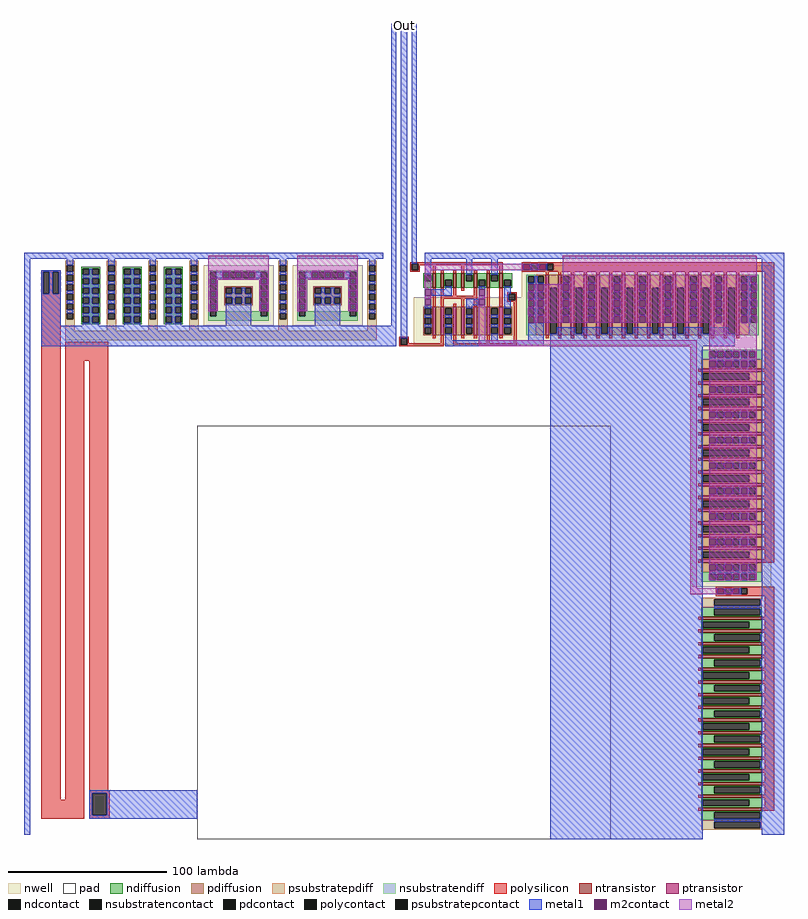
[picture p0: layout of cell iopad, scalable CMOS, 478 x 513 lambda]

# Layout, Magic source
magic
tech scmos
<< nwell >>
rect 111 323 155 361
rect 167 323 211 361
rect 311 341 468 361
rect 243 311 468 341
rect 418 159 468 311
<< ntransistor >>
rect 255 347 257 356
rect 260 347 262 356
rect 268 347 270 356
rect 273 347 275 356
rect 281 347 283 356
rect 289 347 291 356
rect 297 347 299 356
rect 424 138 462 140
rect 424 130 462 132
rect 424 122 462 124
rect 424 114 462 116
rect 424 106 462 108
rect 424 98 462 100
rect 424 90 462 92
rect 424 82 462 84
rect 424 74 462 76
rect 424 66 462 68
rect 424 58 462 60
rect 424 50 462 52
rect 424 42 462 44
rect 424 34 462 36
rect 424 26 462 28
rect 424 18 462 20
<< ptransistor >>
rect 255 317 257 335
rect 260 317 262 335
rect 268 317 270 335
rect 273 317 275 335
rect 281 317 283 335
rect 289 317 291 335
rect 297 317 299 335
rect 326 317 328 355
rect 334 317 336 355
rect 342 317 344 355
rect 350 317 352 355
rect 358 317 360 355
rect 366 317 368 355
rect 374 317 376 355
rect 382 317 384 355
rect 390 317 392 355
rect 398 317 400 355
rect 406 317 408 355
rect 414 317 416 355
rect 422 317 424 355
rect 430 317 432 355
rect 438 317 440 355
rect 446 317 448 355
rect 424 294 462 296
rect 424 286 462 288
rect 424 278 462 280
rect 424 270 462 272
rect 424 262 462 264
rect 424 254 462 256
rect 424 246 462 248
rect 424 238 462 240
rect 424 230 462 232
rect 424 222 462 224
rect 424 214 462 216
rect 424 206 462 208
rect 424 198 462 200
rect 424 190 462 192
rect 424 182 462 184
rect 424 174 462 176
<< ndiffusion >>
rect 34 359 46 360
rect 34 355 35 359
rect 39 355 41 359
rect 45 355 46 359
rect 34 353 46 355
rect 34 349 35 353
rect 39 349 41 353
rect 45 349 46 353
rect 34 347 46 349
rect 34 343 35 347
rect 39 343 41 347
rect 45 343 46 347
rect 34 341 46 343
rect 34 337 35 341
rect 39 337 41 341
rect 45 337 46 341
rect 34 335 46 337
rect 34 331 35 335
rect 39 331 41 335
rect 45 331 46 335
rect 34 329 46 331
rect 34 325 35 329
rect 39 325 41 329
rect 45 325 46 329
rect 34 324 46 325
rect 60 359 72 360
rect 60 355 61 359
rect 65 355 67 359
rect 71 355 72 359
rect 60 353 72 355
rect 60 349 61 353
rect 65 349 67 353
rect 71 349 72 353
rect 60 347 72 349
rect 60 343 61 347
rect 65 343 67 347
rect 71 343 72 347
rect 60 341 72 343
rect 60 337 61 341
rect 65 337 67 341
rect 71 337 72 341
rect 60 335 72 337
rect 60 331 61 335
rect 65 331 67 335
rect 71 331 72 335
rect 60 329 72 331
rect 60 325 61 329
rect 65 325 67 329
rect 71 325 72 329
rect 60 324 72 325
rect 86 359 98 360
rect 86 355 87 359
rect 91 355 93 359
rect 97 355 98 359
rect 86 353 98 355
rect 86 349 87 353
rect 91 349 93 353
rect 97 349 98 353
rect 86 347 98 349
rect 86 343 87 347
rect 91 343 93 347
rect 97 343 98 347
rect 86 341 98 343
rect 86 337 87 341
rect 91 337 93 341
rect 97 337 98 341
rect 86 335 98 337
rect 86 331 87 335
rect 91 331 93 335
rect 97 331 98 335
rect 86 329 98 331
rect 86 325 87 329
rect 91 325 93 329
rect 97 325 98 329
rect 86 324 98 325
rect 249 355 255 356
rect 249 351 250 355
rect 254 351 255 355
rect 249 347 255 351
rect 257 347 260 356
rect 262 352 268 356
rect 262 348 263 352
rect 267 348 268 352
rect 262 347 268 348
rect 270 347 273 356
rect 275 355 281 356
rect 275 351 276 355
rect 280 351 281 355
rect 275 347 281 351
rect 283 352 289 356
rect 283 348 284 352
rect 288 348 289 352
rect 283 347 289 348
rect 291 355 297 356
rect 291 351 292 355
rect 296 351 297 355
rect 291 347 297 351
rect 299 352 305 356
rect 299 348 300 352
rect 304 348 305 352
rect 299 347 305 348
rect 424 145 462 146
rect 424 141 432 145
rect 461 141 462 145
rect 424 140 462 141
rect 424 137 462 138
rect 424 133 425 137
rect 454 133 462 137
rect 424 132 462 133
rect 424 129 462 130
rect 424 125 432 129
rect 461 125 462 129
rect 424 124 462 125
rect 424 121 462 122
rect 424 117 425 121
rect 454 117 462 121
rect 424 116 462 117
rect 424 113 462 114
rect 424 109 432 113
rect 461 109 462 113
rect 424 108 462 109
rect 424 105 462 106
rect 424 101 425 105
rect 454 101 462 105
rect 424 100 462 101
rect 424 97 462 98
rect 424 93 432 97
rect 461 93 462 97
rect 424 92 462 93
rect 424 89 462 90
rect 424 85 425 89
rect 454 85 462 89
rect 424 84 462 85
rect 424 81 462 82
rect 424 77 432 81
rect 461 77 462 81
rect 424 76 462 77
rect 424 73 462 74
rect 424 69 425 73
rect 454 69 462 73
rect 424 68 462 69
rect 424 65 462 66
rect 424 61 432 65
rect 461 61 462 65
rect 424 60 462 61
rect 424 57 462 58
rect 424 53 425 57
rect 454 53 462 57
rect 424 52 462 53
rect 424 49 462 50
rect 424 45 432 49
rect 461 45 462 49
rect 424 44 462 45
rect 424 41 462 42
rect 424 37 425 41
rect 454 37 462 41
rect 424 36 462 37
rect 424 33 462 34
rect 424 29 432 33
rect 461 29 462 33
rect 424 28 462 29
rect 424 25 462 26
rect 424 21 425 25
rect 454 21 462 25
rect 424 20 462 21
rect 424 17 462 18
rect 424 13 432 17
rect 461 13 462 17
rect 424 12 462 13
<< pdiffusion >>
rect 124 347 142 348
rect 124 343 125 347
rect 129 343 131 347
rect 135 343 137 347
rect 141 343 142 347
rect 124 341 142 343
rect 124 337 125 341
rect 129 337 131 341
rect 135 337 137 341
rect 141 337 142 341
rect 124 336 142 337
rect 180 347 198 348
rect 180 343 181 347
rect 185 343 187 347
rect 191 343 193 347
rect 197 343 198 347
rect 180 341 198 343
rect 180 337 181 341
rect 185 337 187 341
rect 191 337 193 341
rect 197 337 198 341
rect 180 336 198 337
rect 320 354 326 355
rect 320 350 321 354
rect 325 350 326 354
rect 320 344 326 350
rect 249 334 255 335
rect 249 330 250 334
rect 254 330 255 334
rect 249 328 255 330
rect 249 324 250 328
rect 254 324 255 328
rect 249 322 255 324
rect 249 318 250 322
rect 254 318 255 322
rect 249 317 255 318
rect 257 317 260 335
rect 262 334 268 335
rect 262 330 263 334
rect 267 330 268 334
rect 262 328 268 330
rect 262 324 263 328
rect 267 324 268 328
rect 262 322 268 324
rect 262 318 263 322
rect 267 318 268 322
rect 262 317 268 318
rect 270 317 273 335
rect 275 334 281 335
rect 275 330 276 334
rect 280 330 281 334
rect 275 328 281 330
rect 275 324 276 328
rect 280 324 281 328
rect 275 322 281 324
rect 275 318 276 322
rect 280 318 281 322
rect 275 317 281 318
rect 283 317 289 335
rect 291 334 297 335
rect 291 330 292 334
rect 296 330 297 334
rect 291 328 297 330
rect 291 324 292 328
rect 296 324 297 328
rect 291 322 297 324
rect 291 318 292 322
rect 296 318 297 322
rect 291 317 297 318
rect 299 334 305 335
rect 299 330 300 334
rect 304 330 305 334
rect 299 328 305 330
rect 299 324 300 328
rect 304 324 305 328
rect 299 322 305 324
rect 299 318 300 322
rect 304 318 305 322
rect 299 317 305 318
rect 320 340 321 344
rect 325 340 326 344
rect 320 334 326 340
rect 320 330 321 334
rect 325 330 326 334
rect 320 317 326 330
rect 328 347 334 355
rect 328 318 329 347
rect 333 318 334 347
rect 328 317 334 318
rect 336 354 342 355
rect 336 350 337 354
rect 341 350 342 354
rect 336 344 342 350
rect 336 340 337 344
rect 341 340 342 344
rect 336 334 342 340
rect 336 330 337 334
rect 341 330 342 334
rect 336 317 342 330
rect 344 347 350 355
rect 344 318 345 347
rect 349 318 350 347
rect 344 317 350 318
rect 352 354 358 355
rect 352 350 353 354
rect 357 350 358 354
rect 352 344 358 350
rect 352 340 353 344
rect 357 340 358 344
rect 352 334 358 340
rect 352 330 353 334
rect 357 330 358 334
rect 352 317 358 330
rect 360 347 366 355
rect 360 318 361 347
rect 365 318 366 347
rect 360 317 366 318
rect 368 354 374 355
rect 368 350 369 354
rect 373 350 374 354
rect 368 344 374 350
rect 368 340 369 344
rect 373 340 374 344
rect 368 334 374 340
rect 368 330 369 334
rect 373 330 374 334
rect 368 317 374 330
rect 376 347 382 355
rect 376 318 377 347
rect 381 318 382 347
rect 376 317 382 318
rect 384 354 390 355
rect 384 350 385 354
rect 389 350 390 354
rect 384 344 390 350
rect 384 340 385 344
rect 389 340 390 344
rect 384 334 390 340
rect 384 330 385 334
rect 389 330 390 334
rect 384 317 390 330
rect 392 347 398 355
rect 392 318 393 347
rect 397 318 398 347
rect 392 317 398 318
rect 400 354 406 355
rect 400 350 401 354
rect 405 350 406 354
rect 400 344 406 350
rect 400 340 401 344
rect 405 340 406 344
rect 400 334 406 340
rect 400 330 401 334
rect 405 330 406 334
rect 400 317 406 330
rect 408 347 414 355
rect 408 318 409 347
rect 413 318 414 347
rect 408 317 414 318
rect 416 354 422 355
rect 416 350 417 354
rect 421 350 422 354
rect 416 344 422 350
rect 416 340 417 344
rect 421 340 422 344
rect 416 334 422 340
rect 416 330 417 334
rect 421 330 422 334
rect 416 317 422 330
rect 424 347 430 355
rect 424 318 425 347
rect 429 318 430 347
rect 424 317 430 318
rect 432 354 438 355
rect 432 350 433 354
rect 437 350 438 354
rect 432 344 438 350
rect 432 340 433 344
rect 437 340 438 344
rect 432 334 438 340
rect 432 330 433 334
rect 437 330 438 334
rect 432 317 438 330
rect 440 347 446 355
rect 440 318 441 347
rect 445 318 446 347
rect 440 317 446 318
rect 448 354 454 355
rect 448 350 449 354
rect 453 350 454 354
rect 448 344 454 350
rect 448 340 449 344
rect 453 340 454 344
rect 448 334 454 340
rect 448 330 449 334
rect 453 330 454 334
rect 448 317 454 330
rect 424 301 462 302
rect 424 297 434 301
rect 438 297 444 301
rect 448 297 454 301
rect 458 297 462 301
rect 424 296 462 297
rect 424 293 462 294
rect 424 289 425 293
rect 454 289 462 293
rect 424 288 462 289
rect 424 285 462 286
rect 424 281 434 285
rect 438 281 444 285
rect 448 281 454 285
rect 458 281 462 285
rect 424 280 462 281
rect 424 277 462 278
rect 424 273 425 277
rect 454 273 462 277
rect 424 272 462 273
rect 424 269 462 270
rect 424 265 434 269
rect 438 265 444 269
rect 448 265 454 269
rect 458 265 462 269
rect 424 264 462 265
rect 424 261 462 262
rect 424 257 425 261
rect 454 257 462 261
rect 424 256 462 257
rect 424 253 462 254
rect 424 249 434 253
rect 438 249 444 253
rect 448 249 454 253
rect 458 249 462 253
rect 424 248 462 249
rect 424 245 462 246
rect 424 241 425 245
rect 454 241 462 245
rect 424 240 462 241
rect 424 237 462 238
rect 424 233 434 237
rect 438 233 444 237
rect 448 233 454 237
rect 458 233 462 237
rect 424 232 462 233
rect 424 229 462 230
rect 424 225 425 229
rect 454 225 462 229
rect 424 224 462 225
rect 424 221 462 222
rect 424 217 434 221
rect 438 217 444 221
rect 448 217 454 221
rect 458 217 462 221
rect 424 216 462 217
rect 424 213 462 214
rect 424 209 425 213
rect 454 209 462 213
rect 424 208 462 209
rect 424 205 462 206
rect 424 201 434 205
rect 438 201 444 205
rect 448 201 454 205
rect 458 201 462 205
rect 424 200 462 201
rect 424 197 462 198
rect 424 193 425 197
rect 454 193 462 197
rect 424 192 462 193
rect 424 189 462 190
rect 424 185 434 189
rect 438 185 444 189
rect 448 185 454 189
rect 458 185 462 189
rect 424 184 462 185
rect 424 181 462 182
rect 424 177 425 181
rect 454 177 462 181
rect 424 176 462 177
rect 424 173 462 174
rect 424 169 434 173
rect 438 169 444 173
rect 448 169 454 173
rect 458 169 462 173
rect 424 168 462 169
<< ndcontact >>
rect 35 355 39 359
rect 41 355 45 359
rect 35 349 39 353
rect 41 349 45 353
rect 35 343 39 347
rect 41 343 45 347
rect 35 337 39 341
rect 41 337 45 341
rect 35 331 39 335
rect 41 331 45 335
rect 35 325 39 329
rect 41 325 45 329
rect 61 355 65 359
rect 67 355 71 359
rect 61 349 65 353
rect 67 349 71 353
rect 61 343 65 347
rect 67 343 71 347
rect 61 337 65 341
rect 67 337 71 341
rect 61 331 65 335
rect 67 331 71 335
rect 61 325 65 329
rect 67 325 71 329
rect 87 355 91 359
rect 93 355 97 359
rect 87 349 91 353
rect 93 349 97 353
rect 87 343 91 347
rect 93 343 97 347
rect 87 337 91 341
rect 93 337 97 341
rect 87 331 91 335
rect 93 331 97 335
rect 87 325 91 329
rect 93 325 97 329
rect 250 351 254 355
rect 263 348 267 352
rect 276 351 280 355
rect 284 348 288 352
rect 292 351 296 355
rect 300 348 304 352
rect 432 141 461 145
rect 425 133 454 137
rect 432 125 461 129
rect 425 117 454 121
rect 432 109 461 113
rect 425 101 454 105
rect 432 93 461 97
rect 425 85 454 89
rect 432 77 461 81
rect 425 69 454 73
rect 432 61 461 65
rect 425 53 454 57
rect 432 45 461 49
rect 425 37 454 41
rect 432 29 461 33
rect 425 21 454 25
rect 432 13 461 17
<< pdcontact >>
rect 125 343 129 347
rect 131 343 135 347
rect 137 343 141 347
rect 125 337 129 341
rect 131 337 135 341
rect 137 337 141 341
rect 181 343 185 347
rect 187 343 191 347
rect 193 343 197 347
rect 181 337 185 341
rect 187 337 191 341
rect 193 337 197 341
rect 321 350 325 354
rect 250 330 254 334
rect 250 324 254 328
rect 250 318 254 322
rect 263 330 267 334
rect 263 324 267 328
rect 263 318 267 322
rect 276 330 280 334
rect 276 324 280 328
rect 276 318 280 322
rect 292 330 296 334
rect 292 324 296 328
rect 292 318 296 322
rect 300 330 304 334
rect 300 324 304 328
rect 300 318 304 322
rect 321 340 325 344
rect 321 330 325 334
rect 329 318 333 347
rect 337 350 341 354
rect 337 340 341 344
rect 337 330 341 334
rect 345 318 349 347
rect 353 350 357 354
rect 353 340 357 344
rect 353 330 357 334
rect 361 318 365 347
rect 369 350 373 354
rect 369 340 373 344
rect 369 330 373 334
rect 377 318 381 347
rect 385 350 389 354
rect 385 340 389 344
rect 385 330 389 334
rect 393 318 397 347
rect 401 350 405 354
rect 401 340 405 344
rect 401 330 405 334
rect 409 318 413 347
rect 417 350 421 354
rect 417 340 421 344
rect 417 330 421 334
rect 425 318 429 347
rect 433 350 437 354
rect 433 340 437 344
rect 433 330 437 334
rect 441 318 445 347
rect 449 350 453 354
rect 449 340 453 344
rect 449 330 453 334
rect 434 297 438 301
rect 444 297 448 301
rect 454 297 458 301
rect 425 289 454 293
rect 434 281 438 285
rect 444 281 448 285
rect 454 281 458 285
rect 425 273 454 277
rect 434 265 438 269
rect 444 265 448 269
rect 454 265 458 269
rect 425 257 454 261
rect 434 249 438 253
rect 444 249 448 253
rect 454 249 458 253
rect 425 241 454 245
rect 434 233 438 237
rect 444 233 448 237
rect 454 233 458 237
rect 425 225 454 229
rect 434 217 438 221
rect 444 217 448 221
rect 454 217 458 221
rect 425 209 454 213
rect 434 201 438 205
rect 444 201 448 205
rect 454 201 458 205
rect 425 193 454 197
rect 434 185 438 189
rect 444 185 448 189
rect 454 185 458 189
rect 425 177 454 181
rect 434 169 438 173
rect 444 169 448 173
rect 454 169 458 173
<< psubstratepdiff >>
rect 24 361 30 364
rect 24 357 25 361
rect 29 357 30 361
rect 50 361 56 364
rect 24 355 30 357
rect 24 351 25 355
rect 29 351 30 355
rect 24 349 30 351
rect 24 345 25 349
rect 29 345 30 349
rect 24 343 30 345
rect 24 339 25 343
rect 29 339 30 343
rect 24 337 30 339
rect 24 333 25 337
rect 29 333 30 337
rect 24 331 30 333
rect 24 327 25 331
rect 29 327 30 331
rect 24 320 30 327
rect 50 357 51 361
rect 55 357 56 361
rect 76 361 82 364
rect 50 355 56 357
rect 50 351 51 355
rect 55 351 56 355
rect 50 349 56 351
rect 50 345 51 349
rect 55 345 56 349
rect 50 343 56 345
rect 50 339 51 343
rect 55 339 56 343
rect 50 337 56 339
rect 50 333 51 337
rect 55 333 56 337
rect 50 331 56 333
rect 50 327 51 331
rect 55 327 56 331
rect 50 320 56 327
rect 76 357 77 361
rect 81 357 82 361
rect 102 361 108 364
rect 76 355 82 357
rect 76 351 77 355
rect 81 351 82 355
rect 76 349 82 351
rect 76 345 77 349
rect 81 345 82 349
rect 76 343 82 345
rect 76 339 77 343
rect 81 339 82 343
rect 76 337 82 339
rect 76 333 77 337
rect 81 333 82 337
rect 76 331 82 333
rect 76 327 77 331
rect 81 327 82 331
rect 76 320 82 327
rect 102 357 103 361
rect 107 357 108 361
rect 158 361 164 364
rect 102 355 108 357
rect 102 351 103 355
rect 107 351 108 355
rect 102 349 108 351
rect 102 345 103 349
rect 107 345 108 349
rect 102 343 108 345
rect 102 339 103 343
rect 107 339 108 343
rect 102 337 108 339
rect 102 333 103 337
rect 107 333 108 337
rect 102 331 108 333
rect 102 327 103 331
rect 107 327 108 331
rect 102 320 108 327
rect 158 357 159 361
rect 163 357 164 361
rect 214 361 220 364
rect 158 355 164 357
rect 158 351 159 355
rect 163 351 164 355
rect 158 349 164 351
rect 158 345 159 349
rect 163 345 164 349
rect 158 343 164 345
rect 158 339 159 343
rect 163 339 164 343
rect 158 337 164 339
rect 158 333 159 337
rect 163 333 164 337
rect 158 331 164 333
rect 158 327 159 331
rect 163 327 164 331
rect 158 320 164 327
rect 214 357 215 361
rect 219 357 220 361
rect 214 355 220 357
rect 214 351 215 355
rect 219 351 220 355
rect 214 349 220 351
rect 214 345 215 349
rect 219 345 220 349
rect 214 343 220 345
rect 214 339 215 343
rect 219 339 220 343
rect 214 337 220 339
rect 214 333 215 337
rect 219 333 220 337
rect 214 331 220 333
rect 214 327 215 331
rect 219 327 220 331
rect 214 320 220 327
rect 24 314 220 320
rect 424 151 462 152
rect 424 147 432 151
rect 461 147 462 151
rect 424 146 462 147
rect 424 11 462 12
rect 424 7 432 11
rect 461 7 462 11
rect 424 6 462 7
<< nsubstratendiff >>
rect 114 357 152 358
rect 114 353 115 357
rect 119 353 127 357
rect 131 353 135 357
rect 139 353 147 357
rect 151 353 152 357
rect 114 352 152 353
rect 114 349 120 352
rect 114 345 115 349
rect 119 345 120 349
rect 146 349 152 352
rect 114 341 120 345
rect 114 337 115 341
rect 119 337 120 341
rect 114 333 120 337
rect 146 345 147 349
rect 151 345 152 349
rect 146 341 152 345
rect 146 337 147 341
rect 151 337 152 341
rect 114 329 115 333
rect 119 332 120 333
rect 146 333 152 337
rect 146 332 147 333
rect 119 329 147 332
rect 151 329 152 333
rect 114 326 152 329
rect 170 357 208 358
rect 170 353 171 357
rect 175 353 183 357
rect 187 353 191 357
rect 195 353 203 357
rect 207 353 208 357
rect 170 352 208 353
rect 170 349 176 352
rect 170 345 171 349
rect 175 345 176 349
rect 202 349 208 352
rect 170 341 176 345
rect 170 337 171 341
rect 175 337 176 341
rect 170 333 176 337
rect 202 345 203 349
rect 207 345 208 349
rect 202 341 208 345
rect 202 337 203 341
rect 207 337 208 341
rect 170 329 171 333
rect 175 332 176 333
rect 202 333 208 337
rect 202 332 203 333
rect 175 329 203 332
rect 207 329 208 333
rect 170 326 208 329
rect 314 354 320 355
rect 314 350 315 354
rect 319 350 320 354
rect 314 344 320 350
rect 314 340 315 344
rect 319 340 320 344
rect 314 334 320 340
rect 314 330 315 334
rect 319 330 320 334
rect 314 317 320 330
rect 454 349 460 355
rect 454 345 455 349
rect 459 345 460 349
rect 454 339 460 345
rect 454 335 455 339
rect 459 335 460 339
rect 454 329 460 335
rect 454 325 455 329
rect 459 325 460 329
rect 454 317 460 325
rect 424 307 462 308
rect 424 303 429 307
rect 433 303 439 307
rect 443 303 449 307
rect 453 303 462 307
rect 424 302 462 303
rect 424 167 462 168
rect 424 163 429 167
rect 433 163 439 167
rect 443 163 449 167
rect 453 163 462 167
rect 424 162 462 163
<< psubstratepcontact >>
rect 25 357 29 361
rect 25 351 29 355
rect 25 345 29 349
rect 25 339 29 343
rect 25 333 29 337
rect 25 327 29 331
rect 51 357 55 361
rect 51 351 55 355
rect 51 345 55 349
rect 51 339 55 343
rect 51 333 55 337
rect 51 327 55 331
rect 77 357 81 361
rect 77 351 81 355
rect 77 345 81 349
rect 77 339 81 343
rect 77 333 81 337
rect 77 327 81 331
rect 103 357 107 361
rect 103 351 107 355
rect 103 345 107 349
rect 103 339 107 343
rect 103 333 107 337
rect 103 327 107 331
rect 159 357 163 361
rect 159 351 163 355
rect 159 345 163 349
rect 159 339 163 343
rect 159 333 163 337
rect 159 327 163 331
rect 215 357 219 361
rect 215 351 219 355
rect 215 345 219 349
rect 215 339 219 343
rect 215 333 219 337
rect 215 327 219 331
rect 432 147 461 151
rect 432 7 461 11
<< nsubstratencontact >>
rect 115 353 119 357
rect 127 353 131 357
rect 135 353 139 357
rect 147 353 151 357
rect 115 345 119 349
rect 115 337 119 341
rect 147 345 151 349
rect 147 337 151 341
rect 115 329 119 333
rect 147 329 151 333
rect 171 353 175 357
rect 183 353 187 357
rect 191 353 195 357
rect 203 353 207 357
rect 171 345 175 349
rect 171 337 175 341
rect 203 345 207 349
rect 203 337 207 341
rect 171 329 175 333
rect 203 329 207 333
rect 315 350 319 354
rect 315 340 319 344
rect 315 330 319 334
rect 455 345 459 349
rect 455 335 459 339
rect 455 325 459 329
rect 429 303 433 307
rect 439 303 443 307
rect 449 303 453 307
rect 429 163 433 167
rect 439 163 443 167
rect 449 163 453 167
<< polysilicon >>
rect 9 357 21 358
rect 9 343 10 357
rect 14 343 16 357
rect 20 343 21 357
rect 9 25 21 343
rect 241 362 299 363
rect 241 358 242 362
rect 246 361 299 362
rect 246 358 247 361
rect 241 357 247 358
rect 255 356 257 361
rect 260 356 262 358
rect 268 356 270 358
rect 273 356 275 361
rect 281 356 283 358
rect 289 356 291 358
rect 297 356 299 361
rect 311 362 470 363
rect 311 358 317 362
rect 321 358 327 362
rect 331 358 470 362
rect 311 357 470 358
rect 326 355 328 357
rect 334 355 336 357
rect 342 355 344 357
rect 350 355 352 357
rect 358 355 360 357
rect 366 355 368 357
rect 374 355 376 357
rect 382 355 384 357
rect 390 355 392 357
rect 398 355 400 357
rect 406 355 408 357
rect 414 355 416 357
rect 422 355 424 357
rect 430 355 432 357
rect 438 355 440 357
rect 446 355 448 357
rect 255 335 257 347
rect 260 342 262 347
rect 268 342 270 347
rect 273 345 275 347
rect 281 342 283 347
rect 260 340 283 342
rect 260 335 262 340
rect 268 335 270 337
rect 273 335 275 340
rect 281 335 283 340
rect 289 335 291 347
rect 297 335 299 347
rect 302 343 308 344
rect 302 339 303 343
rect 307 339 308 343
rect 302 338 308 339
rect 234 315 240 316
rect 255 315 257 317
rect 24 301 51 313
rect 234 311 235 315
rect 239 312 240 315
rect 260 312 262 317
rect 239 311 262 312
rect 234 310 262 311
rect 268 312 270 317
rect 273 315 275 317
rect 281 315 283 317
rect 289 312 291 317
rect 297 315 299 317
rect 306 312 308 338
rect 326 315 328 317
rect 334 315 336 317
rect 342 315 344 317
rect 350 315 352 317
rect 358 315 360 317
rect 366 315 368 317
rect 374 315 376 317
rect 382 315 384 317
rect 390 315 392 317
rect 398 315 400 317
rect 406 315 408 317
rect 414 315 416 317
rect 422 315 424 317
rect 430 315 432 317
rect 438 315 440 317
rect 446 315 448 317
rect 268 310 308 312
rect 24 25 36 301
rect 9 13 36 25
rect 39 31 51 301
rect 464 296 470 357
rect 422 294 424 296
rect 462 294 470 296
rect 464 288 470 294
rect 422 286 424 288
rect 462 286 470 288
rect 464 280 470 286
rect 422 278 424 280
rect 462 278 470 280
rect 464 272 470 278
rect 422 270 424 272
rect 462 270 470 272
rect 464 264 470 270
rect 422 262 424 264
rect 462 262 470 264
rect 464 256 470 262
rect 422 254 424 256
rect 462 254 470 256
rect 464 248 470 254
rect 422 246 424 248
rect 462 246 470 248
rect 464 240 470 246
rect 422 238 424 240
rect 462 238 470 240
rect 464 232 470 238
rect 422 230 424 232
rect 462 230 470 232
rect 464 224 470 230
rect 422 222 424 224
rect 462 222 470 224
rect 464 216 470 222
rect 422 214 424 216
rect 462 214 470 216
rect 464 208 470 214
rect 422 206 424 208
rect 462 206 470 208
rect 464 200 470 206
rect 422 198 424 200
rect 462 198 470 200
rect 464 192 470 198
rect 422 190 424 192
rect 462 190 470 192
rect 464 184 470 190
rect 422 182 424 184
rect 462 182 470 184
rect 464 176 470 182
rect 422 174 424 176
rect 462 174 470 176
rect 433 158 470 159
rect 433 154 439 158
rect 443 154 449 158
rect 453 154 470 158
rect 433 153 470 154
rect 464 140 470 153
rect 422 138 424 140
rect 462 138 470 140
rect 464 132 470 138
rect 422 130 424 132
rect 462 130 470 132
rect 464 124 470 130
rect 422 122 424 124
rect 462 122 470 124
rect 464 116 470 122
rect 422 114 424 116
rect 462 114 470 116
rect 464 108 470 114
rect 422 106 424 108
rect 462 106 470 108
rect 464 100 470 106
rect 422 98 424 100
rect 462 98 470 100
rect 464 92 470 98
rect 422 90 424 92
rect 462 90 470 92
rect 464 84 470 90
rect 422 82 424 84
rect 462 82 470 84
rect 464 76 470 82
rect 422 74 424 76
rect 462 74 470 76
rect 464 68 470 74
rect 422 66 424 68
rect 462 66 470 68
rect 464 60 470 66
rect 422 58 424 60
rect 462 58 470 60
rect 464 52 470 58
rect 422 50 424 52
rect 462 50 470 52
rect 464 44 470 50
rect 422 42 424 44
rect 462 42 470 44
rect 464 36 470 42
rect 422 34 424 36
rect 462 34 470 36
rect 39 29 52 31
rect 39 15 41 29
rect 50 15 52 29
rect 464 28 470 34
rect 422 26 424 28
rect 462 26 470 28
rect 464 20 470 26
rect 422 18 424 20
rect 462 18 470 20
rect 39 13 52 15
<< polycontact >>
rect 10 343 14 357
rect 16 343 20 357
rect 242 358 246 362
rect 317 358 321 362
rect 327 358 331 362
rect 303 339 307 343
rect 235 311 239 315
rect 439 154 443 158
rect 449 154 453 158
rect 41 15 50 29
<< metal1 >>
rect -2 365 224 369
rect -2 3 2 365
rect 25 361 29 365
rect 9 357 21 358
rect 9 343 10 357
rect 14 343 16 357
rect 20 343 21 357
rect 9 323 21 343
rect 51 361 55 365
rect 25 355 29 357
rect 25 349 29 351
rect 25 343 29 345
rect 25 337 29 339
rect 25 331 29 333
rect 39 355 41 359
rect 35 353 45 355
rect 39 349 41 353
rect 35 347 45 349
rect 39 343 41 347
rect 35 341 45 343
rect 39 337 41 341
rect 35 335 45 337
rect 39 331 41 335
rect 35 329 45 331
rect 39 325 41 329
rect 77 361 81 365
rect 51 355 55 357
rect 51 349 55 351
rect 51 343 55 345
rect 51 337 55 339
rect 51 331 55 333
rect 65 355 67 359
rect 61 353 71 355
rect 65 349 67 353
rect 61 347 71 349
rect 65 343 67 347
rect 61 341 71 343
rect 65 337 67 341
rect 61 335 71 337
rect 65 331 67 335
rect 61 329 71 331
rect 35 323 45 325
rect 65 325 67 329
rect 103 361 107 365
rect 77 355 81 357
rect 77 349 81 351
rect 77 343 81 345
rect 77 337 81 339
rect 77 331 81 333
rect 91 355 93 359
rect 87 353 97 355
rect 91 349 93 353
rect 87 347 97 349
rect 91 343 93 347
rect 87 341 97 343
rect 91 337 93 341
rect 87 335 97 337
rect 91 331 93 335
rect 87 329 97 331
rect 61 323 71 325
rect 91 325 93 329
rect 159 361 163 365
rect 215 361 219 365
rect 103 355 107 357
rect 103 349 107 351
rect 103 343 107 345
rect 103 337 107 339
rect 103 331 107 333
rect 119 353 123 357
rect 143 353 147 357
rect 129 343 131 347
rect 135 343 137 347
rect 125 341 141 343
rect 129 337 131 341
rect 135 337 137 341
rect 87 323 97 325
rect 125 323 141 337
rect 159 355 163 357
rect 159 349 163 351
rect 159 343 163 345
rect 159 337 163 339
rect 159 331 163 333
rect 175 353 179 357
rect 199 353 203 357
rect 185 343 187 347
rect 191 343 193 347
rect 181 341 197 343
rect 185 337 187 341
rect 191 337 193 341
rect 181 323 197 337
rect 215 355 219 357
rect 215 349 219 351
rect 215 343 219 345
rect 215 337 219 339
rect 215 331 219 333
rect 229 323 232 513
rect 9 310 232 323
rect 235 315 239 513
rect 242 362 245 513
rect 250 365 476 369
rect 250 355 254 365
rect 276 355 280 365
rect 292 355 296 365
rect 316 358 317 362
rect 321 358 322 362
rect 326 358 327 362
rect 263 346 267 348
rect 254 342 267 346
rect 284 346 288 348
rect 250 340 254 342
rect 284 340 288 342
rect 250 334 254 336
rect 276 336 284 340
rect 300 343 304 348
rect 319 350 321 354
rect 315 349 325 350
rect 319 345 321 349
rect 337 349 341 350
rect 315 344 325 345
rect 300 339 303 343
rect 319 340 321 344
rect 315 339 325 340
rect 276 334 280 336
rect 300 334 304 339
rect 250 328 254 330
rect 250 322 254 324
rect 263 328 267 330
rect 263 322 267 324
rect 276 328 280 330
rect 276 322 280 324
rect 292 328 296 330
rect 292 322 296 324
rect 300 328 304 330
rect 300 322 304 324
rect 319 335 321 339
rect 315 334 325 335
rect 319 330 321 334
rect 315 329 325 330
rect 319 325 321 329
rect 263 314 267 318
rect 292 314 296 318
rect 315 314 325 325
rect 263 310 325 314
rect 353 349 357 350
rect 337 344 341 345
rect 337 339 341 340
rect 337 334 341 335
rect 337 329 341 330
rect 333 318 345 322
rect 369 349 373 350
rect 353 344 357 345
rect 353 339 357 340
rect 353 334 357 335
rect 353 329 357 330
rect 349 318 361 322
rect 385 349 389 350
rect 369 344 373 345
rect 369 339 373 340
rect 369 334 373 335
rect 369 329 373 330
rect 365 318 377 322
rect 401 349 405 350
rect 385 344 389 345
rect 385 339 389 340
rect 385 334 389 335
rect 385 329 389 330
rect 381 318 393 322
rect 417 349 421 350
rect 401 344 405 345
rect 401 339 405 340
rect 401 334 405 335
rect 401 329 405 330
rect 397 318 409 322
rect 433 349 437 350
rect 417 344 421 345
rect 417 339 421 340
rect 417 334 421 335
rect 417 329 421 330
rect 413 318 425 322
rect 453 350 455 354
rect 449 349 459 350
rect 433 344 437 345
rect 433 339 437 340
rect 433 334 437 335
rect 433 329 437 330
rect 429 318 441 322
rect 453 345 455 349
rect 449 344 459 345
rect 453 340 455 344
rect 449 339 459 340
rect 453 335 455 339
rect 449 334 459 335
rect 453 330 455 334
rect 449 329 459 330
rect 453 325 455 329
rect 329 310 445 318
rect 39 29 107 31
rect 39 15 41 29
rect 50 15 107 29
rect 39 13 107 15
rect 329 0 425 310
rect 433 303 434 307
rect 438 303 439 307
rect 443 303 444 307
rect 448 303 449 307
rect 453 303 454 307
rect 429 301 458 303
rect 433 297 434 301
rect 438 297 439 301
rect 443 297 444 301
rect 448 297 449 301
rect 453 297 454 301
rect 433 281 434 285
rect 438 281 439 285
rect 443 281 444 285
rect 448 281 449 285
rect 453 281 454 285
rect 433 265 434 269
rect 438 265 439 269
rect 443 265 444 269
rect 448 265 449 269
rect 453 265 454 269
rect 433 249 434 253
rect 438 249 439 253
rect 443 249 444 253
rect 448 249 449 253
rect 453 249 454 253
rect 433 233 434 237
rect 438 233 439 237
rect 443 233 444 237
rect 448 233 449 237
rect 453 233 454 237
rect 433 217 434 221
rect 438 217 439 221
rect 443 217 444 221
rect 448 217 449 221
rect 453 217 454 221
rect 433 201 434 205
rect 438 201 439 205
rect 443 201 444 205
rect 448 201 449 205
rect 453 201 454 205
rect 433 185 434 189
rect 438 185 439 189
rect 443 185 444 189
rect 448 185 449 189
rect 453 185 454 189
rect 433 169 434 173
rect 438 169 439 173
rect 443 169 444 173
rect 448 169 449 173
rect 453 169 454 173
rect 429 167 458 169
rect 433 163 434 167
rect 438 163 439 167
rect 443 163 444 167
rect 448 163 449 167
rect 453 163 454 167
rect 438 154 439 158
rect 443 154 444 158
rect 448 154 449 158
rect 462 151 476 365
rect 461 147 476 151
rect 432 145 476 147
rect 461 141 476 145
rect 462 129 476 141
rect 461 125 476 129
rect 462 113 476 125
rect 461 109 476 113
rect 462 97 476 109
rect 461 93 476 97
rect 462 81 476 93
rect 461 77 476 81
rect 462 65 476 77
rect 461 61 476 65
rect 462 49 476 61
rect 461 45 476 49
rect 462 33 476 45
rect 461 29 476 33
rect 462 17 476 29
rect 461 13 476 17
rect 432 11 476 13
rect 461 7 476 11
rect 462 3 476 7
<< m2contact >>
rect 123 353 127 357
rect 131 353 135 357
rect 139 353 143 357
rect 115 349 119 353
rect 147 349 151 353
rect 115 341 119 345
rect 115 333 119 337
rect 147 341 151 345
rect 147 333 151 337
rect 179 353 183 357
rect 187 353 191 357
rect 195 353 199 357
rect 171 349 175 353
rect 203 349 207 353
rect 171 341 175 345
rect 171 333 175 337
rect 203 341 207 345
rect 203 333 207 337
rect 312 358 316 362
rect 322 358 326 362
rect 250 342 254 346
rect 284 342 288 346
rect 250 336 254 340
rect 284 336 288 340
rect 315 345 319 349
rect 321 345 325 349
rect 315 335 319 339
rect 321 335 325 339
rect 315 325 319 329
rect 321 325 325 329
rect 337 345 341 349
rect 337 335 341 339
rect 337 325 341 329
rect 353 345 357 349
rect 353 335 357 339
rect 353 325 357 329
rect 369 345 373 349
rect 369 335 373 339
rect 369 325 373 329
rect 385 345 389 349
rect 385 335 389 339
rect 385 325 389 329
rect 401 345 405 349
rect 401 335 405 339
rect 401 325 405 329
rect 417 345 421 349
rect 417 335 421 339
rect 417 325 421 329
rect 433 345 437 349
rect 455 350 459 354
rect 433 335 437 339
rect 433 325 437 329
rect 449 345 453 349
rect 455 340 459 344
rect 449 335 453 339
rect 455 330 459 334
rect 449 325 453 329
rect 434 303 438 307
rect 444 303 448 307
rect 454 303 458 307
rect 429 297 433 301
rect 439 297 443 301
rect 449 297 453 301
rect 429 281 433 285
rect 439 281 443 285
rect 449 281 453 285
rect 429 265 433 269
rect 439 265 443 269
rect 449 265 453 269
rect 429 249 433 253
rect 439 249 443 253
rect 449 249 453 253
rect 429 233 433 237
rect 439 233 443 237
rect 449 233 453 237
rect 429 217 433 221
rect 439 217 443 221
rect 449 217 453 221
rect 429 201 433 205
rect 439 201 443 205
rect 449 201 453 205
rect 429 185 433 189
rect 439 185 443 189
rect 449 185 453 189
rect 429 169 433 173
rect 439 169 443 173
rect 449 169 453 173
rect 434 163 438 167
rect 444 163 448 167
rect 454 163 458 167
rect 434 154 438 158
rect 444 154 448 158
<< metal2 >>
rect 114 357 152 367
rect 114 353 123 357
rect 127 353 131 357
rect 135 353 139 357
rect 143 353 152 357
rect 114 349 115 353
rect 119 352 147 353
rect 119 349 120 352
rect 114 345 120 349
rect 114 341 115 345
rect 119 341 120 345
rect 114 337 120 341
rect 114 333 115 337
rect 119 333 120 337
rect 114 332 120 333
rect 146 349 147 352
rect 151 349 152 353
rect 146 345 152 349
rect 146 341 147 345
rect 151 341 152 345
rect 146 337 152 341
rect 146 333 147 337
rect 151 333 152 337
rect 146 332 152 333
rect 170 357 208 367
rect 170 353 179 357
rect 183 353 187 357
rect 191 353 195 357
rect 199 353 208 357
rect 170 349 171 353
rect 175 352 203 353
rect 175 349 176 352
rect 170 345 176 349
rect 170 341 171 345
rect 175 341 176 345
rect 170 337 176 341
rect 170 333 171 337
rect 175 333 176 337
rect 170 332 176 333
rect 202 349 203 352
rect 207 349 208 353
rect 202 345 208 349
rect 202 341 203 345
rect 207 341 208 345
rect 202 337 208 341
rect 202 333 203 337
rect 207 333 208 337
rect 250 358 312 362
rect 316 358 322 362
rect 250 346 254 358
rect 337 354 459 367
rect 337 350 455 354
rect 337 349 459 350
rect 250 340 254 342
rect 284 340 288 342
rect 202 332 208 333
rect 284 314 288 336
rect 319 345 321 349
rect 325 345 337 349
rect 341 345 353 349
rect 357 345 369 349
rect 373 345 385 349
rect 389 345 401 349
rect 405 345 417 349
rect 421 345 433 349
rect 437 345 449 349
rect 453 345 459 349
rect 315 344 459 345
rect 315 340 455 344
rect 315 339 459 340
rect 319 335 321 339
rect 325 335 337 339
rect 341 335 353 339
rect 357 335 369 339
rect 373 335 385 339
rect 389 335 401 339
rect 405 335 417 339
rect 421 335 433 339
rect 437 335 449 339
rect 453 335 459 339
rect 315 334 459 335
rect 315 330 455 334
rect 315 329 459 330
rect 319 325 321 329
rect 325 325 337 329
rect 341 325 353 329
rect 357 325 369 329
rect 373 325 385 329
rect 389 325 401 329
rect 405 325 417 329
rect 421 325 433 329
rect 437 325 449 329
rect 453 325 459 329
rect 284 310 421 314
rect 417 158 421 310
rect 429 307 459 325
rect 429 303 434 307
rect 438 303 444 307
rect 448 303 454 307
rect 458 303 459 307
rect 429 301 459 303
rect 433 297 439 301
rect 443 297 449 301
rect 453 297 459 301
rect 429 285 459 297
rect 433 281 439 285
rect 443 281 449 285
rect 453 281 459 285
rect 429 269 459 281
rect 433 265 439 269
rect 443 265 449 269
rect 453 265 459 269
rect 429 253 459 265
rect 433 249 439 253
rect 443 249 449 253
rect 453 249 459 253
rect 429 237 459 249
rect 433 233 439 237
rect 443 233 449 237
rect 453 233 459 237
rect 429 221 459 233
rect 433 217 439 221
rect 443 217 449 221
rect 453 217 459 221
rect 429 205 459 217
rect 433 201 439 205
rect 443 201 449 205
rect 453 201 459 205
rect 429 189 459 201
rect 433 185 439 189
rect 443 185 449 189
rect 453 185 459 189
rect 429 173 459 185
rect 433 169 439 173
rect 443 169 449 173
rect 453 169 459 173
rect 429 167 459 169
rect 429 163 434 167
rect 438 163 444 167
rect 448 163 454 167
rect 458 163 459 167
rect 417 154 434 158
rect 438 154 444 158
use bondingpad  bondingpad_0
transform 1 0 107 0 1 0
box 0 0 260 260
<< labels >>
rlabel metal1 237 512 237 512 6 Out
rlabel metal1 244 512 244 512 6 Out_Ena
rlabel metal1 230 512 230 512 6 In
<< end >>

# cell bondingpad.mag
magic
tech scmos
<< pad >>
rect 0 0 260 260
<< end >>
